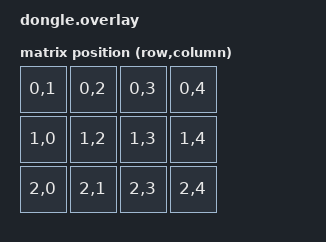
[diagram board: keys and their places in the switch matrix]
/*
* nRF52840	    ST7789V (320x240)
* 
* P0.17 		SCL
* P0.20 		SDA
* P0.22 		RST
* P0.24 		DC (DATA/CMD)
* P0.11 		CS
*/

#include <dt-bindings/zmk/matrix_transform.h>

/ {
    chosen {
        zmk,kscan = &mock_kscan;
        zmk,matrix_transform = &default_transform;
        /delete-property/ zephyr,console;
        /delete-property/ zephyr,shell-uart;
        //zephyr,display = &st7789v;
    };

    mock_kscan: kscan_0 {
        compatible = "zmk,kscan-mock";
        columns = <0>;
        rows = <0>;
        events = <0>;
    };

	default_transform: matrix_transform {
        compatible = "zmk,matrix-transform";
        rows = <3>;
        columns = <5>;
        //  Q  W  E  R
        //   A  S  D  F
        //    Z  X  C  V
        map = <
            RC(0,1) RC(0,2) RC(0,3) RC(0,4)
              RC(1,0) RC(1,2) RC(1,3) RC(1,4)
                RC(2,0) RC(2,1) RC(2,3) RC(2,4)
        >;
    };
};

/*
&pinctrl {
	spi0_default: spi0_default {
		group1 {
			psels = <NRF_PSEL(SPIM_SCK, 0, 17)>,<NRF_PSEL(SPIM_MOSI, 0, 20)>;
		};
	};

	spi0_sleep: spi0_sleep {
		group1 {
			psels = <NRF_PSEL(SPIM_SCK, 0, 17)>,<NRF_PSEL(SPIM_MOSI, 0, 20)>;
			low-power-enable;
		};
	};
};

&spi0 {
	compatible = "nordic,nrf-spim";
	status = "okay";
	pinctrl-0 = <&spi0_default>;
	pinctrl-1 = <&spi0_sleep>;
	cs-gpios = <&gpio0 11 GPIO_ACTIVE_LOW>;
	pinctrl-names = "default", "sleep";
	
	st7789v: st7789v@0 {
		compatible = "sitronix,st7789v";
		spi-max-frequency = <20000000>;
		reg = <0>;
		cmd-data-gpios = <&gpio0 24 GPIO_ACTIVE_LOW>;
		reset-gpios = <&gpio0 22 GPIO_ACTIVE_LOW>;
		width = <240>;
		height = <320>;
		x-offset = <0>;
		y-offset = <0>;
		vcom = <0x1f>;
		gctrl = <0x35>;
		vrhs = <0x12>;
		vdvs = <0x20>;
		mdac = <0x00>;
		lcm = <0x2c>;
		colmod = <0x55>;
		gamma = <0x01>;
		porch-param = [0c 0c 00 33 33];
		cmd2en-param = [5a 69 02 01];
		pwctrl1-param = [a4 a1];
		pvgam-param = [d0 08 11 08 0c 15 39 33 50 36 13 14 29 2d];
		nvgam-param = [d0 08 10 08 06 06 39 44 51 0b 16 14 2f 31];
		ram-param = [00 F0];
		rgb-param = [CD 08 14];
	};
};
*/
